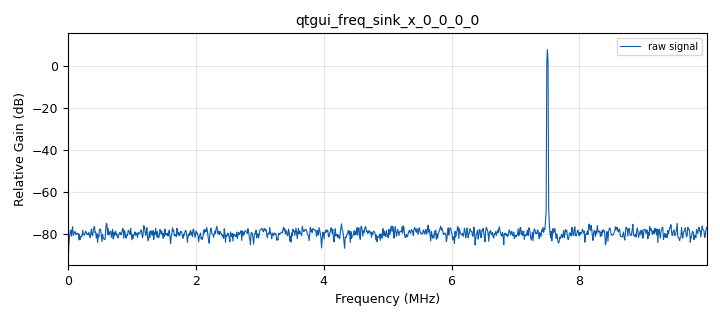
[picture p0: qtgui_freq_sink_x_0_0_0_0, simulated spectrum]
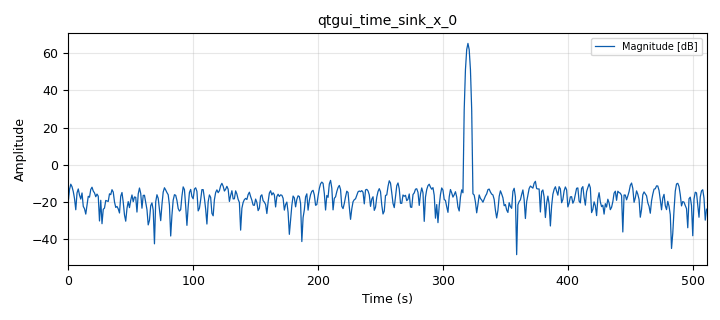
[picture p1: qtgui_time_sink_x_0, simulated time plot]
<?xml version='1.0' encoding='utf-8'?>
<?grc format='1' created='3.7.11'?>
<flow_graph>
<block>
<key>options</key>
<param><key>id</key><value>top_block</value></param>
<param><key>generate_options</key><value>qt_gui</value></param>
<param><key>realtime_scheduling</key><value>1</value></param>
<param><key>thread_safe_setters</key><value>1</value></param>
</block>
<block>
<key>variable</key>
<param><key>id</key><value>decimation</value></param>
<param><key>value</key><value>10</value></param>
</block>
<block>
<key>variable_qtgui_range</key>
<param><key>id</key><value>freq</value></param>
<param><key>value</key><value>7.5e6</value></param>
<param><key>orient</key><value>Qt.Horizontal</value></param>
<param><key>start</key><value>10e3</value></param>
<param><key>step</key><value>1e5</value></param>
<param><key>stop</key><value>10e6</value></param>
</block>
<block>
<key>variable</key>
<param><key>id</key><value>samp_rate</value></param>
<param><key>value</key><value>20000000</value></param>
</block>
<block>
<key>analog_noise_source_x</key>
<param><key>id</key><value>analog_noise_source_x_0_0</value></param>
<param><key>amp</key><value>0.01</value></param>
<param><key>noise_type</key><value>analog.GR_GAUSSIAN</value></param>
<param><key>type</key><value>float</value></param>
<param><key>seed</key><value>0</value></param>
</block>
<block>
<key>analog_sig_source_x</key>
<param><key>id</key><value>analog_sig_source_x_0_0_0</value></param>
<param><key>amp</key><value>10</value></param>
<param><key>freq</key><value>freq</value></param>
<param><key>offset</key><value>0</value></param>
<param><key>type</key><value>float</value></param>
<param><key>samp_rate</key><value>samp_rate</value></param>
<param><key>waveform</key><value>analog.GR_SIN_WAVE</value></param>
</block>
<block>
<key>band_pass_filter</key>
<param><key>id</key><value>band_pass_filter_0</value></param>
<param><key>decim</key><value>1</value></param>
<param><key>_enabled</key><value>0</value></param>
<param><key>type</key><value>fir_filter_fff</value></param>
<param><key>gain</key><value>1</value></param>
<param><key>high_cutoff_freq</key><value>2e6</value></param>
<param><key>low_cutoff_freq</key><value>0</value></param>
<param><key>samp_rate</key><value>samp_rate</value></param>
<param><key>width</key><value>1e5</value></param>
<param><key>win</key><value>firdes.WIN_HANN</value></param>
</block>
<block>
<key>blocks_add_xx</key>
<param><key>id</key><value>blocks_add_xx_0</value></param>
<param><key>type</key><value>float</value></param>
</block>
<block>
<key>blocks_complex_to_mag_squared</key>
<param><key>id</key><value>blocks_complex_to_mag_squared_1</value></param>
</block>
<block>
<key>blocks_keep_m_in_n</key>
<param><key>id</key><value>blocks_keep_m_in_n_0</value></param>
<param><key>m</key><value>512</value></param>
<param><key>n</key><value>1024</value></param>
<param><key>type</key><value>complex</value></param>
<param><key>offset</key><value>0</value></param>
</block>
<block>
<key>blocks_nlog10_ff</key>
<param><key>id</key><value>blocks_nlog10_ff_0</value></param>
<param><key>k</key><value>0</value></param>
<param><key>n</key><value>10</value></param>
</block>
<block>
<key>blocks_stream_to_vector</key>
<param><key>id</key><value>blocks_stream_to_vector_1</value></param>
<param><key>type</key><value>float</value></param>
<param><key>num_items</key><value>1024</value></param>
</block>
<block>
<key>blocks_throttle</key>
<param><key>id</key><value>blocks_throttle_0</value></param>
<param><key>_enabled</key><value>0</value></param>
<param><key>samples_per_second</key><value>samp_rate</value></param>
<param><key>type</key><value>float</value></param>
</block>
<block>
<key>blocks_throttle</key>
<param><key>id</key><value>blocks_throttle_0_0</value></param>
<param><key>samples_per_second</key><value>samp_rate</value></param>
<param><key>type</key><value>float</value></param>
</block>
<block>
<key>blocks_vector_to_stream</key>
<param><key>id</key><value>blocks_vector_to_stream_0</value></param>
<param><key>type</key><value>complex</value></param>
<param><key>num_items</key><value>1024</value></param>
</block>
<block>
<key>fft_vxx</key>
<param><key>id</key><value>fft_vxx_0</value></param>
<param><key>fft_size</key><value>1024</value></param>
<param><key>forward</key><value>True</value></param>
<param><key>type</key><value>float</value></param>
<param><key>shift</key><value>True</value></param>
<param><key>window</key><value>window.blackmanharris(1024)</value></param>
</block>
<block>
<key>freq_xlating_fir_filter_xxx</key>
<param><key>id</key><value>freq_xlating_fir_filter_xxx_0</value></param>
<param><key>center_freq</key><value>0</value></param>
<param><key>decim</key><value>1</value></param>
<param><key>_enabled</key><value>0</value></param>
<param><key>samp_rate</key><value>samp_rate</value></param>
<param><key>type</key><value>ccc</value></param>
</block>
<block>
<key>low_pass_filter</key>
<param><key>id</key><value>low_pass_filter_0</value></param>
<param><key>cutoff_freq</key><value>2e6</value></param>
<param><key>decim</key><value>1</value></param>
<param><key>_enabled</key><value>0</value></param>
<param><key>type</key><value>fir_filter_fff</value></param>
<param><key>gain</key><value>1</value></param>
<param><key>samp_rate</key><value>samp_rate</value></param>
<param><key>width</key><value>100e3</value></param>
<param><key>win</key><value>firdes.WIN_HANN</value></param>
</block>
<block>
<key>qtgui_freq_sink_x</key>
<param><key>id</key><value>qtgui_freq_sink_x_0_0</value></param>
<param><key>autoscale</key><value>True</value></param>
<param><key>average</key><value>0.2</value></param>
<param><key>bw</key><value>samp_rate</value></param>
<param><key>fc</key><value>0</value></param>
<param><key>_enabled</key><value>0</value></param>
<param><key>fftsize</key><value>2048</value></param>
<param><key>grid</key><value>True</value></param>
<param><key>label1</key><value>raw signal</value></param>
<param><key>label2</key><value>low-pass</value></param>
<param><key>label3</key><value>band-pass</value></param>
<param><key>nconnections</key><value>3</value></param>
<param><key>showports</key><value>True</value></param>
<param><key>freqhalf</key><value>False</value></param>
<param><key>type</key><value>float</value></param>
<param><key>wintype</key><value>firdes.WIN_HANN</value></param>
</block>
<block>
<key>qtgui_freq_sink_x</key>
<param><key>id</key><value>qtgui_freq_sink_x_0_0_0_0</value></param>
<param><key>autoscale</key><value>True</value></param>
<param><key>average</key><value>0.2</value></param>
<param><key>bw</key><value>samp_rate</value></param>
<param><key>fc</key><value>0</value></param>
<param><key>fftsize</key><value>2048</value></param>
<param><key>grid</key><value>True</value></param>
<param><key>label1</key><value>raw signal</value></param>
<param><key>showports</key><value>True</value></param>
<param><key>freqhalf</key><value>False</value></param>
<param><key>type</key><value>float</value></param>
<param><key>wintype</key><value>firdes.WIN_HANN</value></param>
</block>
<block>
<key>qtgui_time_sink_x</key>
<param><key>id</key><value>qtgui_time_sink_x_0</value></param>
<param><key>autoscale</key><value>True</value></param>
<param><key>grid</key><value>True</value></param>
<param><key>color1</key><value>"blue"</value></param>
<param><key>label1</key><value>Magnitude [dB]</value></param>
<param><key>size</key><value>512</value></param>
<param><key>srate</key><value>1</value></param>
<param><key>type</key><value>float</value></param>
</block>
<connection><source_block_id>analog_noise_source_x_0_0</source_block_id><sink_block_id>blocks_add_xx_0</sink_block_id><source_key>0</source_key><sink_key>0</sink_key></connection>
<connection><source_block_id>analog_sig_source_x_0_0_0</source_block_id><sink_block_id>blocks_add_xx_0</sink_block_id><source_key>0</source_key><sink_key>1</sink_key></connection>
<connection><source_block_id>blocks_add_xx_0</source_block_id><sink_block_id>band_pass_filter_0</sink_block_id><source_key>0</source_key><sink_key>0</sink_key></connection>
<connection><source_block_id>blocks_add_xx_0</source_block_id><sink_block_id>blocks_stream_to_vector_1</sink_block_id><source_key>0</source_key><sink_key>0</sink_key></connection>
<connection><source_block_id>blocks_add_xx_0</source_block_id><sink_block_id>blocks_throttle_0</sink_block_id><source_key>0</source_key><sink_key>0</sink_key></connection>
<connection><source_block_id>blocks_add_xx_0</source_block_id><sink_block_id>blocks_throttle_0_0</sink_block_id><source_key>0</source_key><sink_key>0</sink_key></connection>
<connection><source_block_id>blocks_add_xx_0</source_block_id><sink_block_id>low_pass_filter_0</sink_block_id><source_key>0</source_key><sink_key>0</sink_key></connection>
<connection><source_block_id>blocks_complex_to_mag_squared_1</source_block_id><sink_block_id>blocks_nlog10_ff_0</sink_block_id><source_key>0</source_key><sink_key>0</sink_key></connection>
<connection><source_block_id>blocks_keep_m_in_n_0</source_block_id><sink_block_id>blocks_complex_to_mag_squared_1</sink_block_id><source_key>0</source_key><sink_key>0</sink_key></connection>
<connection><source_block_id>blocks_nlog10_ff_0</source_block_id><sink_block_id>qtgui_time_sink_x_0</sink_block_id><source_key>0</source_key><sink_key>0</sink_key></connection>
<connection><source_block_id>blocks_stream_to_vector_1</source_block_id><sink_block_id>fft_vxx_0</sink_block_id><source_key>0</source_key><sink_key>0</sink_key></connection>
<connection><source_block_id>blocks_throttle_0</source_block_id><sink_block_id>qtgui_freq_sink_x_0_0</sink_block_id><source_key>0</source_key><sink_key>0</sink_key></connection>
<connection><source_block_id>blocks_throttle_0_0</source_block_id><sink_block_id>qtgui_freq_sink_x_0_0_0_0</sink_block_id><source_key>0</source_key><sink_key>0</sink_key></connection>
<connection><source_block_id>blocks_vector_to_stream_0</source_block_id><sink_block_id>blocks_keep_m_in_n_0</sink_block_id><source_key>0</source_key><sink_key>0</sink_key></connection>
<connection><source_block_id>fft_vxx_0</source_block_id><sink_block_id>blocks_vector_to_stream_0</sink_block_id><source_key>0</source_key><sink_key>0</sink_key></connection>
</flow_graph>
